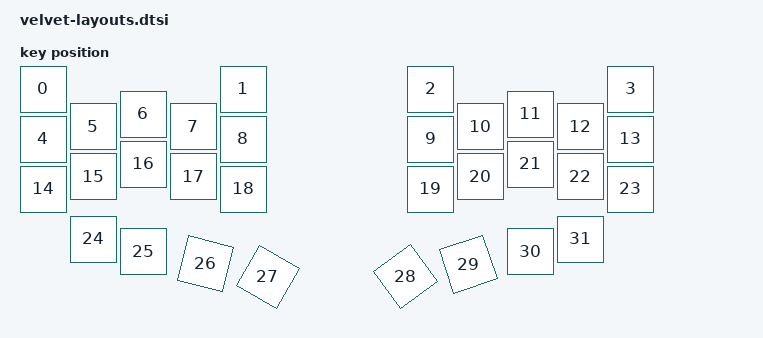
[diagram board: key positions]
#include <physical_layouts.dtsi>

/ {
    physical_layout_velvet: physical_layout_velvet {
        compatible = "zmk,physical-layout";
        display-name = "velvet";
        keys  //                     w   h    x    y     rot    rx    ry
            = <&key_physical_attrs 100 100    0    0       0     0     0>
            , <&key_physical_attrs 100 100  100(-25)       0   100 (-25)>
            , <&key_physical_attrs 100 100  200(-50)       0   200 (-50)>
            , <&key_physical_attrs 100 100  300(-25)       0   300 (-25)>
            , <&key_physical_attrs 100 100  400    0       0   400     0>
            , <&key_physical_attrs 100 100  775    0       0   775     0>
            , <&key_physical_attrs 100 100  875(-25)       0   875 (-25)>
            , <&key_physical_attrs 100 100  975(-50)       0   975 (-50)>
            , <&key_physical_attrs 100 100 1075(-25)       0  1075 (-25)>
            , <&key_physical_attrs 100 100 1175    0       0  1175     0>
            , <&key_physical_attrs 100 100    0  100       0     0   100>
            , <&key_physical_attrs 100 100  100   75       0   100    75>
            , <&key_physical_attrs 100 100  200   50       0   200    50>
            , <&key_physical_attrs 100 100  300   75       0   300    75>
            , <&key_physical_attrs 100 100  400  100       0   400   100>
            , <&key_physical_attrs 100 100  775  100       0   775   100>
            , <&key_physical_attrs 100 100  875   75       0   875    75>
            , <&key_physical_attrs 100 100  975   50       0   975    50>
            , <&key_physical_attrs 100 100 1075   75       0  1075    75>
            , <&key_physical_attrs 100 100 1175  100       0  1175   100>
            , <&key_physical_attrs 100 100    0  200       0     0   200>
            , <&key_physical_attrs 100 100  100  175       0   100   175>
            , <&key_physical_attrs 100 100  200  150       0   200   150>
            , <&key_physical_attrs 100 100  300  175       0   300   175>
            , <&key_physical_attrs 100 100  400  200       0   400   200>
            , <&key_physical_attrs 100 100  775  200       0   775   200>
            , <&key_physical_attrs 100 100  875  175       0   875   175>
            , <&key_physical_attrs 100 100  975  150       0   975   150>
            , <&key_physical_attrs 100 100 1075  175       0  1075   175>
            , <&key_physical_attrs 100 100 1175  200       0  1175   200>
            , <&key_physical_attrs 100 100  100  300       0   100   300>
            , <&key_physical_attrs 100 100  200  325       0   200   325>
            , <&key_physical_attrs 100 100  339  339    1395   339   339>
            , <&key_physical_attrs 100 100  481  357    3000   481   357>
            , <&key_physical_attrs 100 100  705  414   32415   705   414>
            , <&key_physical_attrs 100 100  837  369   34137   837   369>
            , <&key_physical_attrs 100 100  975  325       0   975   325>
            , <&key_physical_attrs 100 100 1075  300       0  1075   300>
            ;
    };
};
